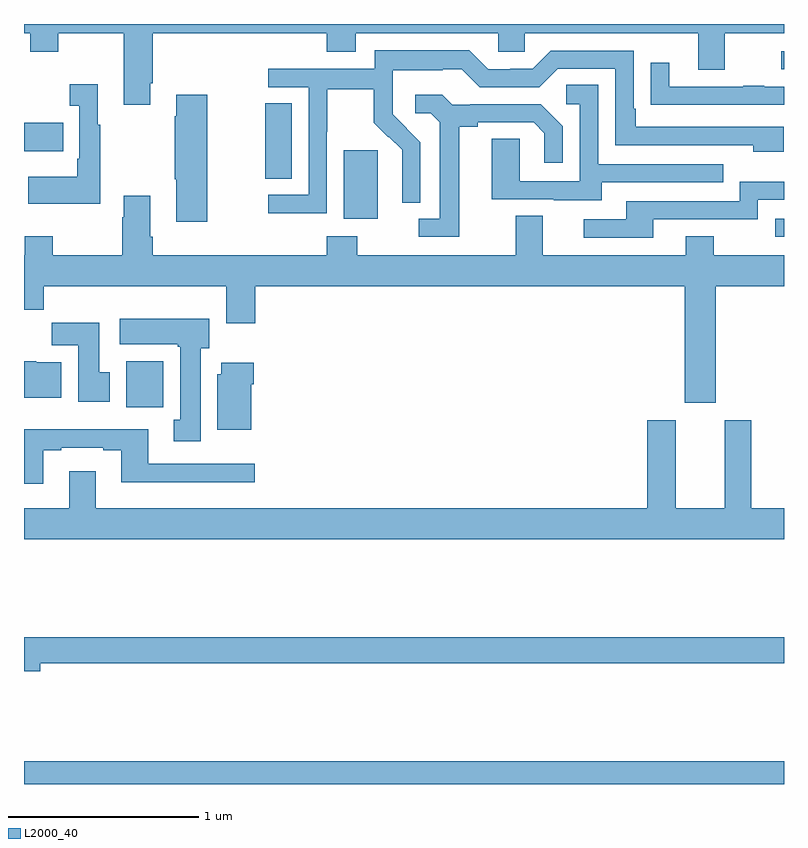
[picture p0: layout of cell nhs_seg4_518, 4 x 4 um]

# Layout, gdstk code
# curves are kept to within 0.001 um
import gdstk
lib = gdstk.Library(unit=1e-6, precision=1e-09)
def R(c, l, rs):  # rectangles x0, y0, x1, y1
    for r in rs: c.add(gdstk.rectangle(r[:2], r[2:], *l))
def P(c, l, *ps):  # polygons
    for p in ps: c.add(gdstk.Polygon(p, *l))
L2000_40 = (2000, 40)

nhs_seg4_518 = lib.new_cell('nhs_seg4_518')
R(nhs_seg4_518, L2000_40, [(137,760.9,141,761.02), (137.537,762.884,137.734,763.126), (140.955,763.779,141,763.875), (138.683,763.874,138.862,764.235), (138.271,764.086,138.409,764.483), (137,764.231,137.207,764.379), (140.985,764.661,141,764.757)])
P(nhs_seg4_518, L2000_40, [(137.665,764.587),(137.678,764.587),(137.678,764.852),(138.593,764.852),(138.593,764.753),(138.745,764.753),(138.745,764.852),(139.497,764.852),(139.497,764.754),(139.635,764.754),(139.635,764.852),(140.549,764.852),(140.549,764.658),(140.689,764.658),(140.689,764.852),(141,764.852),(141,764.9),(137,764.9),(137,764.852),(137.033,764.852),(137.033,764.753),(137.181,764.753),(137.181,764.852),(137.525,764.852),(137.525,764.475),(137.665,764.475)],
  [(138.594,764.332),(138.597,764.332),(138.597,764.556),(138.841,764.556),(138.841,764.381),(138.918,764.304),(138.921,764.307),(138.992,764.237),(138.992,764.114),(138.99,764.114),(138.99,763.96),(139.086,763.96),(139.086,764.278),(138.94,764.426),(138.94,764.523),(138.942,764.523),(138.942,764.657),(139.205,764.657),(139.205,764.661),(139.305,764.661),(139.398,764.568),(139.713,764.568),(139.809,764.664),(140.112,764.664),(140.112,764.262),(140.837,764.262),(140.837,764.228),(140.998,764.228),(140.998,764.358),(140.221,764.358),(140.221,764.455),(140.208,764.455),(140.208,764.76),(139.773,764.76),(139.677,764.664),(139.559,764.664),(139.559,764.661),(139.443,764.661),(139.343,764.761),(138.846,764.761),(138.846,764.664),(138.285,764.664),(138.285,764.568),(138.498,764.568),(138.498,764.001),(138.285,764.001),(138.285,763.903),(138.594,763.903)],
  [(141,764.571),(140.897,764.571),(140.897,764.576),(140.785,764.576),(140.785,764.571),(140.395,764.571),(140.395,764.695),(140.299,764.695),(140.299,764.476),(140.401,764.476),(140.401,764.475),(141,764.475)],
  [(137.401,764.371),(137.389,764.371),(137.389,764.584),(137.241,764.584),(137.241,764.471),(137.292,764.471),(137.292,764.191),(137.28,764.191),(137.28,764.095),(137.023,764.095),(137.023,763.955),(137.401,763.955)],
  [(140.041,764.067),(140.681,764.067),(140.681,764.163),(140.022,764.163),(140.022,764.579),(139.854,764.579),(139.854,764.478),(139.926,764.478),(139.926,764.073),(139.608,764.073),(139.608,764.297),(139.463,764.297),(139.463,763.977),(139.787,763.977),(139.787,763.973),(140.041,763.973)],
  [(137.964,764.527),(137.801,764.527),(137.801,764.414),(137.794,764.414),(137.794,764.083),(137.801,764.083),(137.801,763.86),(137.964,763.86)],
  [(139.291,764.36),(139.387,764.36),(139.387,764.382),(139.682,764.382),(139.739,764.325),(139.739,764.169),(139.836,764.169),(139.836,764.362),(139.72,764.478),(139.348,764.478),(139.348,764.475),(139.254,764.475),(139.202,764.527),(139.059,764.527),(139.059,764.43),(139.14,764.43),(139.187,764.383),(139.187,763.875),(139.077,763.875),(139.077,763.779),(139.291,763.779)],
  [(140.311,763.872),(140.862,763.872),(140.862,763.974),(141,763.974),(141,764.071),(140.766,764.071),(140.766,763.968),(140.171,763.968),(140.171,763.872),(139.947,763.872),(139.947,763.776),(140.311,763.776)],
  [(140.641,763.52),(141,763.52),(141,763.684),(140.631,763.684),(140.631,763.783),(140.483,763.783),(140.483,763.684),(139.729,763.684),(139.729,763.892),(139.589,763.892),(139.589,763.684),(138.753,763.684),(138.753,763.783),(138.593,763.783),(138.593,763.684),(137.678,763.684),(137.678,763.78),(137.665,763.78),(137.665,763.996),(137.525,763.996),(137.525,763.883),(137.518,763.883),(137.518,763.684),(137.151,763.684),(137.151,763.783),(137.004,763.783),(137.004,763.684),(137,763.684),(137,763.396),(137.105,763.396),(137.105,763.52),(138.065,763.52),(138.065,763.326),(138.218,763.326),(138.218,763.52),(140.477,763.52),(140.477,762.906),(140.641,762.906)],
  [(137.929,763.194),(137.974,763.194),(137.974,763.348),(137.505,763.348),(137.505,763.214),(137.809,763.214),(137.809,763.201),(137.822,763.201),(137.822,762.818),(137.789,762.818),(137.789,762.705),(137.929,762.705)],
  [(137.452,763.068),(137.395,763.068),(137.395,763.327),(137.146,763.327),(137.146,763.208),(137.285,763.208),(137.285,762.912),(137.452,762.912)],
  [(137.197,763.12),(137.064,763.12),(137.064,763.126),(137,763.126),(137,762.932),(137.197,762.932)],
  [(138.196,763.004),(138.209,763.004),(138.209,763.117),(138.038,763.117),(138.038,763.056),(138.017,763.056),(138.017,762.764),(138.196,762.764)],
  [(141,762.352),(140.827,762.352),(140.827,762.814),(140.687,762.814),(140.687,762.352),(140.431,762.352),(140.431,762.814),(140.279,762.814),(140.279,762.352),(137.377,762.352),(137.377,762.547),(137.237,762.547),(137.237,762.352),(137,762.352),(137,762.188),(141,762.188)],
  [(137.101,762.657),(137.197,762.657),(137.197,762.669),(137.417,762.669),(137.417,762.657),(137.513,762.657),(137.513,762.488),(138.214,762.488),(138.214,762.585),(137.653,762.585),(137.653,762.766),(137,762.766),(137,762.48),(137.101,762.48)],
  [(137.086,761.536),(141,761.536),(141,761.672),(137,761.672),(137,761.494),(137.086,761.494)])

lib.write_gds('nhs_seg4_518.gds')
